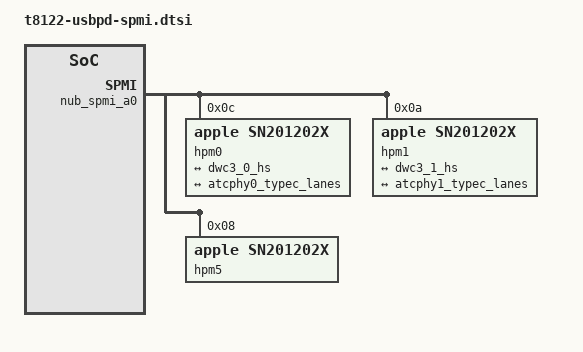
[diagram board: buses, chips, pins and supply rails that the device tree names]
// SPDX-License-Identifier: GPL-2.0+ OR MIT
/*
 * Apple M3 MacBook Air (M3, 2024) SPMI based USB PD controller nodes
 *
 * This file contains nodes for t8122 devices using SPMI based ACE3 USB Type-C
 * port controllers. The are used in the M3 MacBook Airs.
 *
 * target-type: J613, J615
 *
 * Copyright The Asahi Linux Contributors
 */


&nub_spmi_a0 {
	status = "okay";

	hpm0: usb-pd@c {
		compatible = "apple,sn201202x";
		reg = <0xc SPMI_USID>;
		interrupts = <11 IRQ_TYPE_EDGE_RISING>,
			<13 IRQ_TYPE_EDGE_RISING>,
			<17 IRQ_TYPE_EDGE_RISING>,
			<19 IRQ_TYPE_EDGE_RISING>;
		interrupt-names = "irq", "select", "sleep", "wake";

		typec0: connector {
			compatible = "usb-c-connector";
			label = "USB-C Left-back";
			power-role = "dual";
			data-role = "dual";

			ports {
				#address-cells = <1>;
				#size-cells = <0>;
				port@0 {
					reg = <0>;
					typec0_connector_hs: endpoint {
						remote-endpoint = <&dwc3_0_hs>;
					};
				};
				port@1 {
					reg = <1>;
					typec0_connector_ss: endpoint {
						remote-endpoint = <&atcphy0_typec_lanes>;
					};
				};
			};
		};
	};

	hpm1: usb-pd@a {
		compatible = "apple,sn201202x";
		reg = <0xa SPMI_USID>;
		interrupts = <37 IRQ_TYPE_EDGE_RISING>,
			<39 IRQ_TYPE_EDGE_RISING>,
			<43 IRQ_TYPE_EDGE_RISING>,
			<45 IRQ_TYPE_EDGE_RISING>;
		interrupt-names = "irq", "select", "sleep", "wake";

		typec1: connector {
			compatible = "usb-c-connector";
			label = "USB-C Left-front";
			power-role = "dual";
			data-role = "dual";

			ports {
				#address-cells = <1>;
				#size-cells = <0>;
				port@0 {
					reg = <0>;
					typec1_connector_hs: endpoint {
						remote-endpoint = <&dwc3_1_hs>;
					};
				};
				port@1 {
					reg = <1>;
					typec1_connector_ss: endpoint {
						remote-endpoint = <&atcphy1_typec_lanes>;
					};
				};
			};
		};
	};

	hpm5: usb-pd@8 {
		compatible = "apple,sn201202x";
		reg = <0x8 SPMI_USID>;
		interrupts = <63 IRQ_TYPE_EDGE_RISING>,
			<65 IRQ_TYPE_EDGE_RISING>,
			<69 IRQ_TYPE_EDGE_RISING>,
			<71 IRQ_TYPE_EDGE_RISING>;
		interrupt-names = "irq", "select", "sleep", "wake";
	};
};
